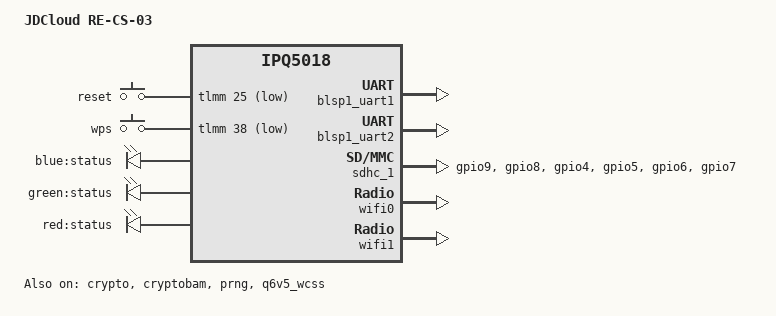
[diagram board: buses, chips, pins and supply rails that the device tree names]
// SPDX-License-Identifier: GPL-2.0-or-later OR MIT

/dts-v1/;

#include "ipq5018.dtsi"
#include "ipq5018-ess.dtsi"

#include <dt-bindings/gpio/gpio.h>
#include <dt-bindings/input/input.h>
#include <dt-bindings/leds/common.h>

/ {
	model = "JDCloud RE-CS-03";
	compatible = "jdcloud,re-cs-03", "qcom,ipq5018";

	aliases {
		sdhc1 = &sdhc_1;
		serial0 = &blsp1_uart1;
		serial1 = &blsp1_uart2;

		led-boot = &led_status_blue;
		led-failsafe = &led_status_red;
		led-running = &led_status_green;
		led-upgrade = &led_status_red;
	};

	keys {
		compatible = "gpio-keys";
		pinctrl-0 = <&button_pins>;
		pinctrl-names = "default";

		reset {
			label = "reset";
			linux,code = <KEY_RESTART>;
			gpios = <&tlmm 25 GPIO_ACTIVE_LOW>;
			linux,input-type = <1>;
			debounce-interval = <60>;
		};

		wps {
			label = "wps";
			linux,code = <KEY_WPS_BUTTON>;
			gpios = <&tlmm 38 GPIO_ACTIVE_LOW>;
			linux,input-type = <1>;
			debounce-interval = <60>;
		};
	};

	leds {
		compatible = "gpio-leds";
		pinctrl-0 = <&leds_pins>;
		pinctrl-names = "default";

		led_status_blue: status-blue {
			label = "blue:status";
			gpio = <&tlmm 31 GPIO_ACTIVE_HIGH>;
		};

		led_status_green: status-green {
			label = "green:status";
			gpio = <&tlmm 32 GPIO_ACTIVE_HIGH>;
		};

		led_status_red: status-red {
			label = "red:status";
			gpio = <&tlmm 33 GPIO_ACTIVE_HIGH>;
		};
	};

	reserved-memory {
		#address-cells = <0x02>;
		#size-cells = <0x02>;
		ranges;

		nss_regions: nss@40000000 {
			no-map;
			reg = <0x00 0x40000000 0x00 0x800000>;
		};

		q6_mem_regions: q6_mem_regions@4b000000 {
			no-map;
			reg = <0x00 0x4b000000 0x00 0x3400000>;
		};

		q6_code_data_regions: q6_code_data@4E400000 {
			no-map;
			reg = <0x00 0x4E400000 0x00 0x1400000>;
		};

		q6_ipq5018_data_regions: q6_ipq5018_data@4F800000 {
			no-map;
			reg = <0x00 0x4F800000 0x00 0xd00000>;
		};

		m3_dump_regions: m3_dump@50500000 {
			no-map;
			reg = <0x00 0x50500000 0x00 0x100000>;
		};

		q6_etr_dump_regions: q6_etr_dump@50600000 {
			no-map;
			reg = <0x00 0x50600000 0x00 0x100000>;
		};

		q6_caldb_region: q6_caldb_region@50700000 {
			no-map;
			reg = <0x0 0x50700000 0x0 0x200000>;
		};

		q6_qcn6122_data1_regions: q6_qcn6122_data1@50900000 {
			no-map;
			reg = <0x00 0x50900000 0x00 0xf00000>;
		};

		m3_dump_qcn6122_1_regions: m3_dump_qcn6122_1@51800000 {
			no-map;
			reg = <0x00 0x51800000 0x00 0x100000>;
		};

		q6_qcn6122_etr_1_regions: q6_qcn6122_etr_1@51900000 {
			no-map;
			reg = <0x00 0x51900000 0x00 0x100000>;
		};

		q6_qcn6122_caldb_1_regions: q6_qcn6122_caldb_1@51A00000 {
			no-map;
			reg = <0x0 0x51A00000 0x0 0x500000>;
		};
	};
};

&blsp1_uart1 {
	status = "okay";
};

&blsp1_uart2 {
	status = "okay";
};

&crypto {
	status = "okay";
};

&cryptobam {
	status = "okay";
};

&prng {
	status = "okay";
};

&q6v5_wcss {
	status = "okay";

	compatible = "qcom,ipq5018-q6-mpd";
	firmware = "IPQ5018/q6_fw.mdt";

	reg = <0x0cd00000 0x4040>, <0x1938000 0x8>, <0x193d204 0x4>;
	reg-names = "qdsp6", "tcsr-msip", "tcsr-q6";
	resets = <&gcc GCC_WCSSAON_RESET>, <&gcc GCC_WCSS_Q6_BCR>;
	reset-names = "wcss_aon_reset", "wcss_q6_reset";
	clocks = <&gcc GCC_Q6_AXIS_CLK>, <&gcc GCC_WCSS_ECAHB_CLK>, <&gcc GCC_Q6_AXIM_CLK>, <&gcc GCC_Q6_AXIM2_CLK>, <&gcc GCC_Q6_AHB_CLK>, <&gcc GCC_Q6_AHB_S_CLK>, <&gcc GCC_WCSS_AXI_S_CLK>;
	clock-names = "gcc_q6_axis_clk", "gcc_wcss_ecahb_clk", "gcc_q6_axim_clk", "gcc_q6_axim2_clk", "gcc_q6_ahb_clk", "gcc_q6_ahb_s_clk", "gcc_wcss_axi_s_clk";
	qcom,rproc = <&q6v5_wcss>;
	qcom,bootargs_smem = <507>;
	memory-region = <&q6_mem_regions>, <&q6_etr_dump_regions>, <&q6_caldb_region>;
	boot-args = <0x02 0x04 0x02 0x0f 0x00 0x00>;

	q6_wcss_pd1: remoteproc_pd1@4ab000 {
		compatible = "qcom,ipq5018-wcss-ahb-mpd";
		firmware = "IPQ5018/q6_fw.mdt";
		m3_firmware = "IPQ5018/m3_fw.mdt";

		reg = <0x4ab000 0x20>;
		reg-names = "rmb";
		interrupts-extended = <&wcss_smp2p_in 8 0>, <&wcss_smp2p_in 9 0>, <&wcss_smp2p_in 12 0>, <&wcss_smp2p_in 11 0>;
		interrupt-names = "fatal", "ready", "spawn-ack", "stop-ack";
		resets = <&gcc GCC_WCSSAON_RESET>, <&gcc GCC_WCSS_BCR>, <&gcc GCC_CE_BCR>;
		reset-names = "wcss_aon_reset", "wcss_reset", "ce_reset";
		clocks = <&gcc GCC_WCSS_AHB_S_CLK>, <&gcc GCC_WCSS_ACMT_CLK>, <&gcc GCC_WCSS_AXI_M_CLK>;
		clock-names = "gcc_wcss_ahb_s_clk", "gcc_wcss_acmt_clk", "gcc_wcss_axi_m_clk";

		// qcom,halt-regs = <&tcsr_q6_block 0xa000 0xd000 0x0>;

		qcom,smem-states = <&wcss_smp2p_out 8>, <&wcss_smp2p_out 9>, <&wcss_smp2p_out 10>;
		qcom,smem-state-names = "shutdown", "stop", "spawn";
		memory-region = <&q6_ipq5018_data_regions>, <&m3_dump_regions>, <&q6_etr_dump_regions>, <&q6_caldb_region>;
	};

	q6_wcss_pd2: remoteproc_pd2 {
		compatible = "qcom,ipq5018-wcss-pcie-mpd";
		firmware = "IPQ5018/q6_fw.mdt";
		m3_firmware = "qcn6122/m3_fw.mdt";

		interrupts-extended = <&wcss_smp2p_in 16 0>, <&wcss_smp2p_in 17 0>, <&wcss_smp2p_in 20 0>, <&wcss_smp2p_in 19 0>;
		interrupt-names = "fatal", "ready", "spawn-ack", "stop-ack";
		qcom,smem-states = <&wcss_smp2p_out 16>, <&wcss_smp2p_out 17>, <&wcss_smp2p_out 18>;
		qcom,smem-state-names = "shutdown", "stop", "spawn";
		memory-region = <&q6_qcn6122_data1_regions>, <&m3_dump_qcn6122_1_regions>, <&q6_qcn6122_etr_1_regions>, <&q6_qcn6122_caldb_1_regions>;
	};
};

&tlmm {
	button_pins: button-pins {
		mux {
			pins = "gpio25", "gpio38";
			function = "gpio";
			drive-strength = <8>;
			bias-pull-up;
		};
	};

	leds_pins: leds-pins {
		mux {
			pins = "gpio31", "gpio32", "gpio33";
			function = "gpio";
			drive-strength = <8>;
			bias-pull-down;
			output-low;
		};
	};

	mdio1_pins: mdio_pinmux {
		mux_0 {
			pins = "gpio36";
			function = "mdc";
			drive-strength = <0x08>;
			bias-pull-up;
		};

		mux_1 {
			pins = "gpio37";
			function = "mdio";
			drive-strength = <0x08>;
			bias-pull-up;
		};
	};

	phy_pins: phy-pins {
		phy_reset {
			pins = "gpio39";
			function = "gpio";
			drive-strength = <8>;
			bias-pull-down;
			output-low;
		};
	};

	emmc_pins: emmc-pins {
		emmc_clk {
			pins = "gpio9";
			function = "sdc1_clk";
			drive-strength = <8>;
			bias-disable;
		};

		emmc_cmd {
			pins = "gpio8";
			function = "sdc1_cmd";
			drive-strength = <8>;
			bias-pull-up;
		};

		emmc_data {
			pins = "gpio4", "gpio5", "gpio6", "gpio7";
			function = "sdc1_data";
			drive-strength = <8>;
			bias-disable;
		};
	};
};

&sdhc_1 {
	status = "okay";

	pinctrl-0 = <&emmc_pins>;
	pinctrl-names = "default";
};

&wifi0 {
	status = "okay";

	qcom,multipd_arch;
	qcom,userpd-subsys-name = "q6v5_wcss_userpd1";
	qcom,rproc = <&q6_wcss_pd1>;
	qcom,bdf-addr = <0x0 0x4C000000 0x4C000000 0x0 0x0>;
	qcom,caldb-addr = <0x0 0x4D000000 0 0 0>;
	qcom,caldb-size = <0x200000>;
	mem-region = <&q6_ipq5018_data_regions>;
	qcom,ath11k-calibration-variant = "JDC-RE-CS-03";
	qcom,ath11k-fw-memory-mode = <1>;
};

&wifi1 {
	status = "okay";

	qcom,multipd_arch;
	qcom,userpd-subsys-name = "q6v5_wcss_userpd2";
	qcom,rproc = <&q6_wcss_pd2>;
	qcom,bdf-addr = <0x0 0x4D200000 0x4CF00000 0x0 0x0>;
	qcom,caldb-addr = <0x0 0x4E400000 0 0 0>;
	qcom,caldb-size = <0x500000>;
	mem-region = <&q6_qcn6122_data1_regions>;
	qcom,ath11k-calibration-variant = "JDC-RE-CS-03";
	qcom,ath11k-fw-memory-mode = <1>;
};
